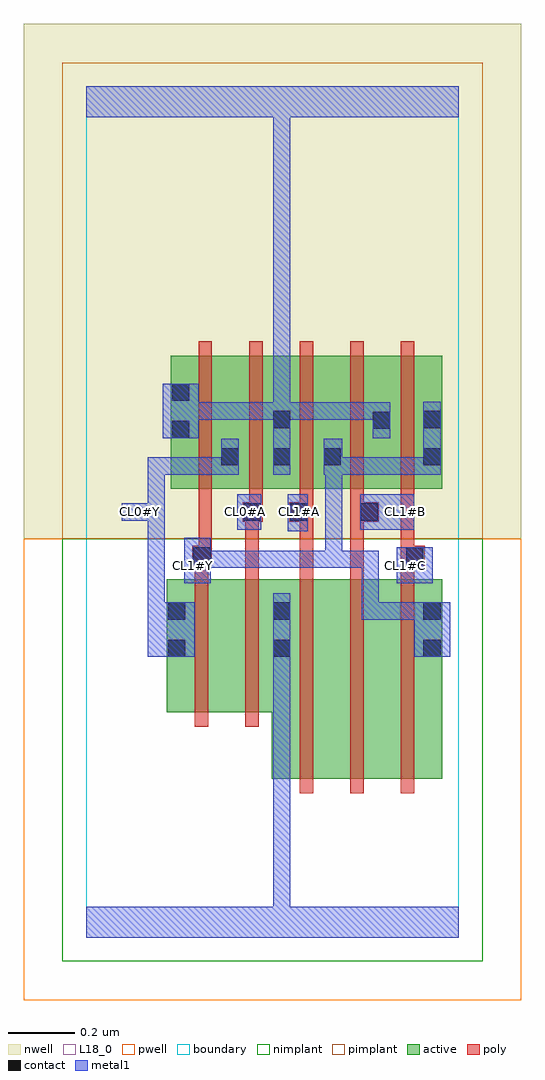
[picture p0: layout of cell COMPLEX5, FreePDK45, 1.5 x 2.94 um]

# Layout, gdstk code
import gdstk
lib = gdstk.Library(unit=1e-6, precision=1e-09)
def R(c, l, rs):  # rectangles x0, y0, x1, y1
    for r in rs: c.add(gdstk.rectangle(r[:2], r[2:], *l))
def A(c, l, x, y, w, h, nx, ny, dx, dy):  # array of equal rectangles
    R(c, l, [(x+i*dx, y+j*dy, x+i*dx+w, y+j*dy+h) for i in range(nx) for j in range(ny)])
active = (1, 0)
pwell = (2, 0)
nwell = (3, 0)
nimplant = (4, 0)
pimplant = (5, 0)
poly = (9, 0)
contact = (10, 0)
metal1 = (11, 0)
L18_0 = (18, 0)
boundary = (235, 0)

complex5 = lib.new_cell('COMPLEX5')
R(complex5, active, [(0.558,0.478,0.738,1.078), (0.738,0.478,0.89,1.078), (0.89,0.478,1.07,1.078), (1.01,0.556,1.07,1.078), (0.242,0.678,0.422,1.078), (0.422,0.678,0.618,1.078), (0.242,0.756,0.302,1.078), (0.558,0.756,0.618,1.078), (0.254,1.35,0.462,1.75), (0.254,1.35,0.314,1.67), (0.402,1.35,0.462,1.644), (0.402,1.35,0.618,1.75), (0.558,1.35,0.618,1.644), (0.558,1.35,0.77,1.75), (0.71,1.35,0.77,1.644), (0.71,1.35,0.918,1.75), (0.858,1.35,0.918,1.644), (0.858,1.35,1.07,1.75), (1.01,1.35,1.07,1.644)])
R(complex5, pwell, [(-0.188,-0.188,1.308,1.2)])
R(complex5, nwell, [(-0.188,1.2,1.308,2.748)])
R(complex5, nimplant, [(-0.072,-0.072,1.192,1.2)])
R(complex5, pimplant, [(-0.072,1.2,1.192,2.632)])
A(complex5, poly, 0.642, 0.434, 0.04, 0.688, 3, 1, 0.152, 0)
A(complex5, poly, 0.49, 1.27, 0.04, 0.076, 3, 1, 0.152, 0)
A(complex5, poly, 0.338, 1.306, 0.04, 0.488, 5, 1, 0.152, 0)
R(complex5, poly, [(0.326,0.634,0.366,1.122), (0.478,0.634,0.518,1.122), (0.326,1.082,0.366,1.158), (0.478,1.082,0.518,1.29), (0.642,1.082,0.682,1.29), (0.794,1.082,0.834,1.29), (0.946,1.082,0.986,1.158), (0.318,1.118,0.378,1.178), (0.946,1.118,1.018,1.178), (0.338,1.138,0.378,1.346), (0.338,1.138,0.378,1.178), (0.338,1.138,0.378,1.178), (0.946,1.138,0.986,1.346), (0.946,1.138,0.986,1.178), (0.946,1.138,0.986,1.178), (0.47,1.25,0.53,1.31), (0.478,1.25,0.518,1.29), (0.478,1.25,0.518,1.29), (0.61,1.25,0.682,1.31), (0.642,1.25,0.682,1.29), (0.642,1.25,0.682,1.29), (0.794,1.25,0.834,1.29), (0.794,1.25,0.834,1.29), (0.794,1.25,0.88,1.31)])
R(complex5, contact, [(0.246,0.844,0.298,0.896), (0.562,0.844,0.614,0.896), (1.014,0.844,1.066,0.896), (0.246,0.956,0.298,1.008), (0.562,0.956,0.614,1.008), (1.014,0.956,1.066,1.008), (0.322,1.122,0.374,1.174), (0.962,1.122,1.014,1.174), (0.474,1.254,0.526,1.306), (0.614,1.254,0.666,1.306), (0.824,1.254,0.876,1.306), (0.406,1.42,0.458,1.472), (0.562,1.42,0.614,1.472), (0.714,1.42,0.766,1.472), (1.014,1.42,1.066,1.472), (0.258,1.502,0.31,1.554), (0.862,1.53,0.914,1.582), (0.562,1.532,0.614,1.584), (1.014,1.532,1.066,1.584), (0.258,1.614,0.31,1.666)])
R(complex5, metal1, [(0,0,1.12,0.092), (0.562,0.04,0.614,0.092), (0.562,0.04,0.614,0.092), (0.562,0.04,0.614,0.092), (0.562,0.04,0.614,0.092), (0.562,0.04,0.614,0.868), (0.562,0.816,0.614,0.868), (0.562,0.816,0.614,0.868), (0.562,0.816,0.614,0.868), (0.562,0.816,0.614,0.868), (0.562,0.816,0.614,1.036), (0.184,0.844,0.326,1.008), (0.986,0.844,1.094,1.008), (0.184,0.956,0.236,1.306), (0.828,0.956,0.88,1.008), (0.828,0.956,1.038,1.008), (0.828,0.956,0.88,1.164), (0.986,0.956,1.038,1.008), (0.986,0.956,1.038,1.008), (0.294,1.066,0.374,1.202), (0.934,1.066,1.042,1.174), (0.322,1.112,0.484,1.164), (0.432,1.112,0.484,1.164), (0.432,1.112,0.484,1.164), (0.432,1.112,0.484,1.164), (0.432,1.112,0.642,1.164), (0.59,1.112,0.642,1.164), (0.59,1.112,0.642,1.164), (0.59,1.112,0.642,1.164), (0.59,1.112,0.77,1.164), (0.718,1.112,0.77,1.164), (0.718,1.112,0.77,1.164), (0.718,1.112,0.77,1.164), (0.718,1.112,0.876,1.164), (0.718,1.112,0.77,1.444), (0.824,1.112,0.876,1.164), (0.824,1.112,0.88,1.164), (0.828,1.112,0.88,1.164), (0.606,1.222,0.666,1.334), (0.454,1.226,0.526,1.334), (0.824,1.226,0.986,1.334), (0.106,1.254,0.236,1.306), (0.184,1.254,0.236,1.444), (0.184,1.392,0.236,1.444), (0.184,1.392,0.236,1.444), (0.184,1.392,0.236,1.444), (0.184,1.392,0.236,1.444), (0.184,1.392,0.236,1.444), (0.184,1.392,0.458,1.444), (0.406,1.392,0.458,1.5), (0.562,1.392,0.614,1.612), (0.714,1.392,0.77,1.5), (0.718,1.392,0.776,1.444), (0.724,1.392,0.776,1.444), (0.724,1.392,0.88,1.444), (0.828,1.392,0.88,1.444), (0.828,1.392,1.066,1.444), (1.014,1.392,1.066,1.444), (1.014,1.392,1.066,1.444), (1.014,1.392,1.066,1.612), (0.23,1.502,0.338,1.666), (0.862,1.502,0.914,1.61), (0.286,1.558,0.338,1.61), (0.286,1.558,0.338,1.61), (0.286,1.558,0.484,1.61), (0.432,1.558,0.484,1.61), (0.432,1.558,0.484,1.61), (0.432,1.558,0.484,1.61), (0.432,1.558,0.614,1.61), (0.562,1.558,0.614,1.61), (0.562,1.558,0.614,1.61), (0.562,1.558,0.752,1.61), (0.7,1.558,0.752,1.61), (0.7,1.558,0.876,1.61), (0.824,1.558,0.876,1.61), (0.824,1.558,0.914,1.61), (0.562,1.56,0.614,2.52), (0,2.468,1.12,2.56), (0.562,2.468,0.614,2.52), (0.562,2.468,0.614,2.52), (0.562,2.468,0.614,2.52), (0.562,2.468,0.614,2.52), (0.562,2.468,0.614,2.52), (0.562,2.468,0.614,2.52), (0.562,2.468,0.614,2.52), (0.562,2.468,0.614,2.52), (0.562,2.468,0.614,2.52), (0.562,2.468,0.614,2.52), (0.562,2.468,0.614,2.52), (0.562,2.468,0.614,2.52), (0.562,2.468,0.614,2.52), (0.562,2.468,0.614,2.52), (0.562,2.468,0.614,2.52), (0.562,2.468,0.614,2.52)])
R(complex5, L18_0, [(0,0,1.12,0.092), (0.562,0.04,0.614,0.092), (0.562,0.04,0.614,0.092), (0.562,0.04,0.614,0.092), (0.562,0.04,0.614,0.092), (0.562,0.04,0.614,0.868), (0.562,0.816,0.614,0.868), (0.562,0.816,0.614,0.868), (0.562,0.816,0.614,0.868), (0.562,0.816,0.614,0.868), (0.562,0.816,0.614,1.036), (0.184,0.844,0.326,1.008), (0.986,0.844,1.094,1.008), (0.184,0.956,0.236,1.306), (0.828,0.956,0.88,1.008), (0.828,0.956,1.038,1.008), (0.828,0.956,0.88,1.164), (0.986,0.956,1.038,1.008), (0.986,0.956,1.038,1.008), (0.294,1.066,0.374,1.202), (0.934,1.066,1.042,1.174), (0.294,1.094,0.346,1.146), (0.934,1.094,0.986,1.146), (0.322,1.112,0.484,1.164), (0.432,1.112,0.484,1.164), (0.432,1.112,0.484,1.164), (0.432,1.112,0.484,1.164), (0.432,1.112,0.642,1.164), (0.59,1.112,0.642,1.164), (0.59,1.112,0.642,1.164), (0.59,1.112,0.642,1.164), (0.59,1.112,0.77,1.164), (0.718,1.112,0.77,1.164), (0.718,1.112,0.77,1.164), (0.718,1.112,0.77,1.164), (0.718,1.112,0.77,1.444), (0.718,1.112,0.876,1.164), (0.824,1.112,0.876,1.164), (0.824,1.112,0.88,1.164), (0.828,1.112,0.88,1.164), (0.606,1.222,0.666,1.334), (0.454,1.226,0.526,1.334), (0.824,1.226,0.986,1.334), (0.106,1.254,0.236,1.306), (0.134,1.254,0.186,1.306), (0.184,1.254,0.236,1.444), (0.454,1.254,0.506,1.306), (0.614,1.254,0.666,1.306), (0.934,1.254,0.986,1.306), (0.184,1.392,0.236,1.444), (0.184,1.392,0.236,1.444), (0.184,1.392,0.236,1.444), (0.184,1.392,0.236,1.444), (0.184,1.392,0.236,1.444), (0.184,1.392,0.458,1.444), (0.406,1.392,0.458,1.5), (0.562,1.392,0.614,1.612), (0.714,1.392,0.77,1.5), (0.718,1.392,0.776,1.444), (0.724,1.392,0.776,1.444), (0.724,1.392,0.88,1.444), (0.828,1.392,0.88,1.444), (0.828,1.392,1.066,1.444), (1.014,1.392,1.066,1.444), (1.014,1.392,1.066,1.444), (1.014,1.392,1.066,1.612), (0.23,1.502,0.338,1.666), (0.862,1.502,0.914,1.61), (0.286,1.558,0.338,1.61), (0.286,1.558,0.338,1.61), (0.286,1.558,0.484,1.61), (0.432,1.558,0.484,1.61), (0.432,1.558,0.484,1.61), (0.432,1.558,0.484,1.61), (0.432,1.558,0.614,1.61), (0.562,1.558,0.614,1.61), (0.562,1.558,0.614,1.61), (0.562,1.558,0.752,1.61), (0.7,1.558,0.752,1.61), (0.7,1.558,0.876,1.61), (0.824,1.558,0.876,1.61), (0.824,1.558,0.914,1.61), (0.562,1.56,0.614,2.52), (0,2.468,1.12,2.56), (0.562,2.468,0.614,2.52), (0.562,2.468,0.614,2.52), (0.562,2.468,0.614,2.52), (0.562,2.468,0.614,2.52), (0.562,2.468,0.614,2.52), (0.562,2.468,0.614,2.52), (0.562,2.468,0.614,2.52), (0.562,2.468,0.614,2.52), (0.562,2.468,0.614,2.52), (0.562,2.468,0.614,2.52), (0.562,2.468,0.614,2.52), (0.562,2.468,0.614,2.52), (0.562,2.468,0.614,2.52), (0.562,2.468,0.614,2.52), (0.562,2.468,0.614,2.52), (0.562,2.468,0.614,2.52)])
R(complex5, boundary, [(0,0,1.12,2.56)])
complex5.add(gdstk.Label('CL0#A', (0.48,1.28), layer=11, texttype=0))
complex5.add(gdstk.Label('CL0#Y', (0.16,1.28), layer=11, texttype=0))
complex5.add(gdstk.Label('CL1#A', (0.64,1.28), layer=11, texttype=0))
complex5.add(gdstk.Label('CL1#B', (0.96,1.28), layer=11, texttype=0))
complex5.add(gdstk.Label('CL1#C', (0.96,1.12), layer=11, texttype=0))
complex5.add(gdstk.Label('CL1#Y', (0.32,1.12), layer=11, texttype=0))

lib.write_gds('COMPLEX5.gds')
